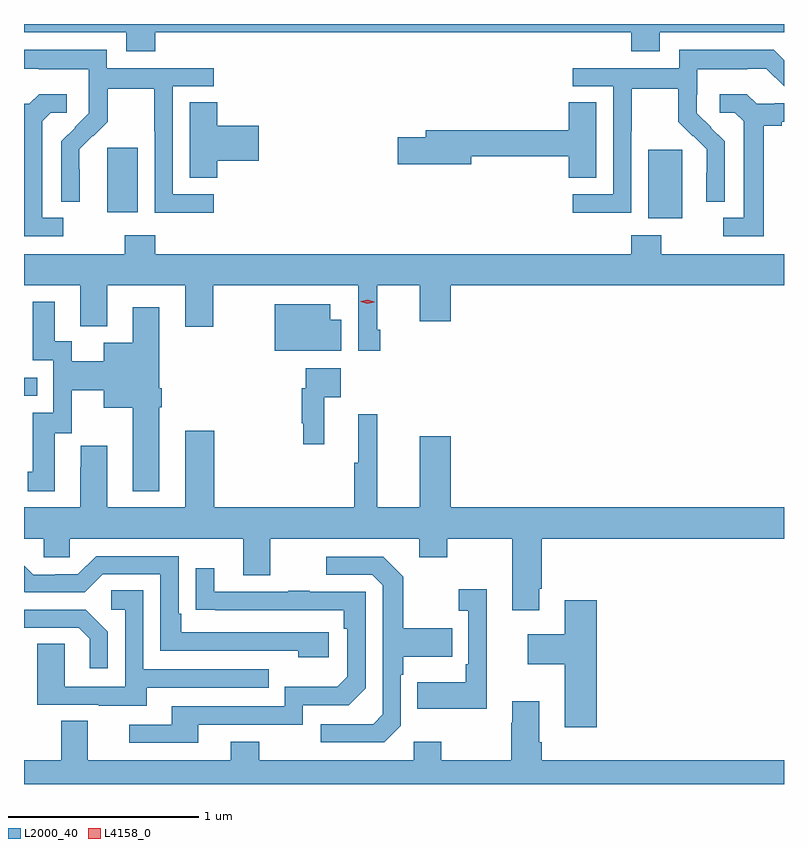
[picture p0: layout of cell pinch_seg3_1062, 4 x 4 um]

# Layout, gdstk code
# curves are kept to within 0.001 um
import gdstk
lib = gdstk.Library(unit=1e-6, precision=1e-09)
def R(c, l, rs):  # rectangles x0, y0, x1, y1
    for r in rs: c.add(gdstk.rectangle(r[:2], r[2:], *l))
def P(c, l, *ps):  # polygons
    for p in ps: c.add(gdstk.Polygon(p, *l))
L2000_40 = (2000, 40)
L4158_0 = (4158, 0)

pinch_seg3_1062 = lib.new_cell('pinch_seg3_1062')
R(pinch_seg3_1062, L2000_40, [(258.83,701.667,258.899,701.763), (262.115,702.602,262.294,702.963), (259.268,702.633,259.429,702.973)])
P(pinch_seg3_1062, L2000_40, [(259.52,703.58),(262.025,703.58),(262.025,703.481),(262.177,703.481),(262.177,703.58),(262.83,703.58),(262.83,703.624),(258.83,703.624),(258.83,703.58),(259.367,703.58),(259.367,703.481),(259.52,703.481)],
  [(259.828,702.729),(259.614,702.729),(259.614,703.296),(259.828,703.296),(259.828,703.392),(259.266,703.392),(259.266,703.489),(258.83,703.489),(258.83,703.389),(258.907,703.389),(258.907,703.385),(259.17,703.385),(259.17,703.251),(259.172,703.251),(259.172,703.154),(259.026,703.006),(259.026,702.688),(259.123,702.688),(259.123,702.86),(259.121,702.86),(259.121,702.965),(259.191,703.035),(259.194,703.032),(259.271,703.109),(259.271,703.284),(259.516,703.284),(259.516,703.06),(259.518,703.06),(259.518,702.631),(259.828,702.631)],
  [(262.026,703.06),(262.029,703.06),(262.029,703.284),(262.273,703.284),(262.273,703.109),(262.35,703.032),(262.353,703.035),(262.424,702.965),(262.424,702.842),(262.422,702.842),(262.422,702.688),(262.518,702.688),(262.518,703.006),(262.372,703.154),(262.372,703.251),(262.374,703.251),(262.374,703.385),(262.637,703.385),(262.637,703.389),(262.737,703.389),(262.83,703.296),(262.83,703.434),(262.775,703.489),(262.278,703.489),(262.278,703.392),(261.717,703.392),(261.717,703.296),(261.93,703.296),(261.93,702.729),(261.717,702.729),(261.717,702.631),(262.026,702.631)],
  [(259.036,702.603),(258.925,702.603),(258.925,703.111),(258.972,703.158),(259.054,703.158),(259.054,703.255),(258.91,703.255),(258.858,703.203),(258.83,703.203),(258.83,702.507),(259.036,702.507)],
  [(262.723,703.088),(262.819,703.088),(262.819,703.11),(262.83,703.11),(262.83,703.206),(262.78,703.206),(262.78,703.203),(262.686,703.203),(262.634,703.255),(262.491,703.255),(262.491,703.158),(262.572,703.158),(262.619,703.111),(262.619,702.603),(262.509,702.603),(262.509,702.507),(262.723,702.507)],
  [(261.841,703.211),(261.698,703.211),(261.698,703.064),(260.945,703.064),(260.945,703.028),(260.796,703.028),(260.796,702.886),(261.184,702.886),(261.184,702.928),(261.698,702.928),(261.698,702.814),(261.841,702.814)],
  [(259.847,702.905),(260.065,702.905),(260.065,703.088),(259.847,703.088),(259.847,703.211),(259.703,703.211),(259.703,702.814),(259.847,702.814)],
  [(260.705,702.016),(260.688,702.016),(260.688,702.248),(260.912,702.248),(260.912,702.06),(261.076,702.06),(261.076,702.248),(262.83,702.248),(262.83,702.412),(262.185,702.412),(262.185,702.511),(262.025,702.511),(262.025,702.412),(259.52,702.412),(259.52,702.511),(259.36,702.511),(259.36,702.412),(258.83,702.412),(258.83,702.248),(259.127,702.248),(259.127,702.032),(259.267,702.032),(259.267,702.248),(259.679,702.248),(259.679,702.03),(259.827,702.03),(259.827,702.248),(260.589,702.248),(260.589,701.904),(260.705,701.904)],
  [(259.543,701.607),(259.556,701.607),(259.556,701.707),(259.543,701.707),(259.543,702.133),(259.403,702.133),(259.403,701.947),(259.25,701.947),(259.25,701.848),(259.081,701.848),(259.081,701.954),(258.991,701.954),(258.991,702.163),(258.875,702.163),(258.875,701.853),(258.984,701.853),(258.984,701.577),(258.875,701.577),(258.875,701.268),(258.851,701.268),(258.851,701.166),(258.991,701.166),(258.991,701.469),(259.08,701.469),(259.08,701.696),(259.25,701.696),(259.25,701.603),(259.403,701.603),(259.403,701.165),(259.543,701.165)],
  [(260.5,702.067),(260.443,702.067),(260.443,702.148),(260.15,702.148),(260.15,701.903),(260.5,701.903)],
  [(260.411,701.66),(260.497,701.66),(260.497,701.812),(260.313,701.812),(260.313,701.708),(260.293,701.708),(260.293,701.524),(260.301,701.524),(260.301,701.412),(260.411,701.412)],
  [(259.128,701.404),(259.128,701.291),(259.127,701.291),(259.127,701.08),(258.83,701.08),(258.83,700.916),(258.933,700.916),(258.933,700.818),(259.071,700.818),(259.071,700.916),(259.985,700.916),(259.985,700.722),(260.125,700.722),(260.125,700.916),(260.909,700.916),(260.909,700.817),(261.057,700.817),(261.057,700.916),(261.401,700.916),(261.401,700.539),(261.541,700.539),(261.541,700.651),(261.554,700.651),(261.554,700.916),(262.83,700.916),(262.83,701.08),(261.076,701.08),(261.076,701.455),(260.912,701.455),(260.912,701.08),(260.688,701.08),(260.688,701.569),(260.588,701.569),(260.588,701.316),(260.569,701.316),(260.569,701.08),(259.832,701.08),(259.832,701.482),(259.679,701.482),(259.679,701.08),(259.267,701.08),(259.267,701.404)],
  [(260.434,700.422),(259.657,700.422),(259.657,700.519),(259.644,700.519),(259.644,700.824),(259.209,700.824),(259.113,700.728),(258.995,700.728),(258.995,700.725),(258.879,700.725),(258.83,700.774),(258.83,700.636),(258.834,700.632),(259.149,700.632),(259.245,700.728),(259.548,700.728),(259.548,700.326),(260.273,700.326),(260.273,700.292),(260.434,700.292)],
  [(260.814,699.93),(260.814,700.199),(260.827,700.199),(260.827,700.295),(261.083,700.295),(261.083,700.443),(260.827,700.443),(260.827,700.715),(260.721,700.821),(260.421,700.821),(260.421,700.725),(260.664,700.725),(260.718,700.671),(260.718,699.99),(260.667,699.939),(260.391,699.939),(260.391,699.843),(260.727,699.843)],
  [(259.747,699.936),(260.298,699.936),(260.298,700.038),(260.538,700.038),(260.628,700.128),(260.628,700.635),(260.333,700.635),(260.333,700.64),(260.221,700.64),(260.221,700.635),(259.831,700.635),(259.831,700.759),(259.735,700.759),(259.735,700.54),(260.512,700.539),(260.512,700.442),(260.532,700.442),(260.532,700.188),(260.479,700.135),(260.202,700.135),(260.202,700.032),(259.607,700.032),(259.607,699.936),(259.383,699.936),(259.383,699.84),(259.747,699.84)],
  [(261.266,700.648),(261.117,700.648),(261.117,700.535),(261.168,700.535),(261.168,700.255),(261.156,700.255),(261.156,700.159),(260.899,700.159),(260.899,700.019),(261.266,700.019)],
  [(259.477,700.131),(260.117,700.131),(260.117,700.227),(259.458,700.227),(259.458,700.643),(259.29,700.643),(259.29,700.542),(259.362,700.542),(259.362,700.137),(259.044,700.137),(259.044,700.361),(258.899,700.361),(258.899,700.041),(259.223,700.041),(259.223,700.037),(259.477,700.037)],
  [(261.845,700.591),(261.677,700.591),(261.677,700.411),(261.48,700.411),(261.48,700.253),(261.677,700.253),(261.677,699.924),(261.845,699.924)],
  [(259.272,700.426),(259.156,700.542),(258.83,700.542),(258.83,700.446),(259.118,700.446),(259.175,700.389),(259.175,700.233),(259.272,700.233)],
  [(262.83,699.748),(261.554,699.748),(261.554,699.844),(261.541,699.844),(261.541,700.06),(261.401,700.06),(261.401,699.947),(261.394,699.947),(261.394,699.748),(261.027,699.748),(261.027,699.847),(260.88,699.847),(260.88,699.748),(260.067,699.748),(260.067,699.847),(259.919,699.847),(259.919,699.748),(259.165,699.748),(259.165,699.956),(259.025,699.956),(259.025,699.748),(258.83,699.748),(258.83,699.624),(262.83,699.624)])
P(pinch_seg3_1062, L4158_0, [(260.637,702.152),(260.603,702.163),(260.603,702.163),(260.603,702.164),(260.638,702.172),(260.673,702.161),(260.673,702.16),(260.673,702.16)])

lib.write_gds('pinch_seg3_1062.gds')
